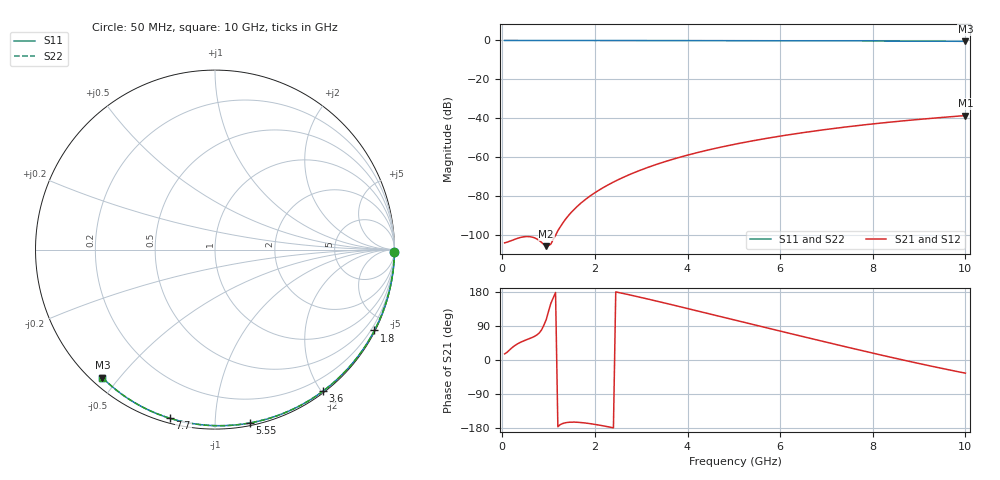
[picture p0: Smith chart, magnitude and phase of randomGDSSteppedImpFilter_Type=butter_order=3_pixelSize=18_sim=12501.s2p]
! freq	dB(S11)	phase(S11)	dB(S12)	phase(S12)
!  dB(S21)	phase(S21)	dB(S22)	phase(S22)
!S-par simulation data
#  GHz  S  DB  R 50
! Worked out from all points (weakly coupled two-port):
!   200 points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, 50 MHz to 10 GHz, reference 50 ohm
!   highest |S21| = -38.54 dB at 10 GHz (marker M1); lowest = -105.6 dB at 950 MHz (marker M2)
!   lowest |S11| = -0.4 dB at 10 GHz (marker M3), VSWR 38.86, Z = 1.55 - j22.6 ohm
!   |S11| at or under -10 dB: nowhere
!   |S22| runs from -0.4 to 0.0 dB; largest |S21 - S12| = 0
!   S11 on the Smith chart (normalised r, x): 50 MHz: open; 1.8 GHz: 0.04, -4.18; 3.6 GHz: 0.02, -2.02; 5.55 GHz: 0.02, -1.22; 7.7 GHz: 0.02, -0.77; 10 GHz: 0.03, -0.45
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0.05  -0.00 -0.8  -103.87 16.2  -103.87 16.2  -0.00 -0.8
0.5  -0.01 -7.6  -100.68 52.3  -100.68 52.3  -0.01 -7.6
0.95  -0.02 -14.3  -105.58 107.0  -105.58 107.0  -0.02 -14.3
1.75  -0.03 -26.2  -82.46 -165.6  -82.46 -165.6  -0.03 -26.2
1.8  -0.03 -26.9  -81.52 -166.3  -81.52 -166.3  -0.03 -26.9
1.9  -0.04 -28.4  -79.76 -168.0  -79.76 -168.0  -0.04 -28.4
2.05  -0.04 -30.5  -77.38 -170.9  -77.38 -170.9  -0.04 -30.5
2.25  -0.04 -33.4  -74.57 -175.4  -74.57 -175.4  -0.04 -33.4
2.45  -0.05 -36.3  -72.08 179.7  -72.08 179.7  -0.05 -36.3
2.65  -0.05 -39.2  -69.84 174.5  -69.84 174.5  -0.05 -39.2
3  -0.06 -44.2  -66.41 164.9  -66.41 164.9  -0.06 -44.2
3.4  -0.07 -49.8  -63.05 153.5  -63.05 153.5  -0.07 -49.8
3.6  -0.07 -52.6  -61.56 147.7  -61.56 147.7  -0.07 -52.6
4.3  -0.09 -62.1  -57.04 126.9  -57.04 126.9  -0.09 -62.1
5.05  -0.11 -72.1  -53.12 104.5  -53.12 104.5  -0.11 -72.1
5.55  -0.13 -78.6  -50.89 89.6  -50.89 89.6  -0.13 -78.6
6.1  -0.15 -85.5  -48.72 73.3  -48.72 73.3  -0.15 -85.5
6.7  -0.18 -92.9  -46.61 55.7  -46.61 55.7  -0.18 -92.9
7.7  -0.24 -104.9  -43.62 26.7  -43.62 26.7  -0.24 -104.9
8.35  -0.29 -112.5  -41.97 8.3  -41.97 8.3  -0.29 -112.5
9.15  -0.36 -121.7  -40.20 -13.3  -40.20 -13.3  -0.36 -121.7
10  -0.45 -131.3  -38.54 -34.7  -38.54 -34.7  -0.45 -131.3
